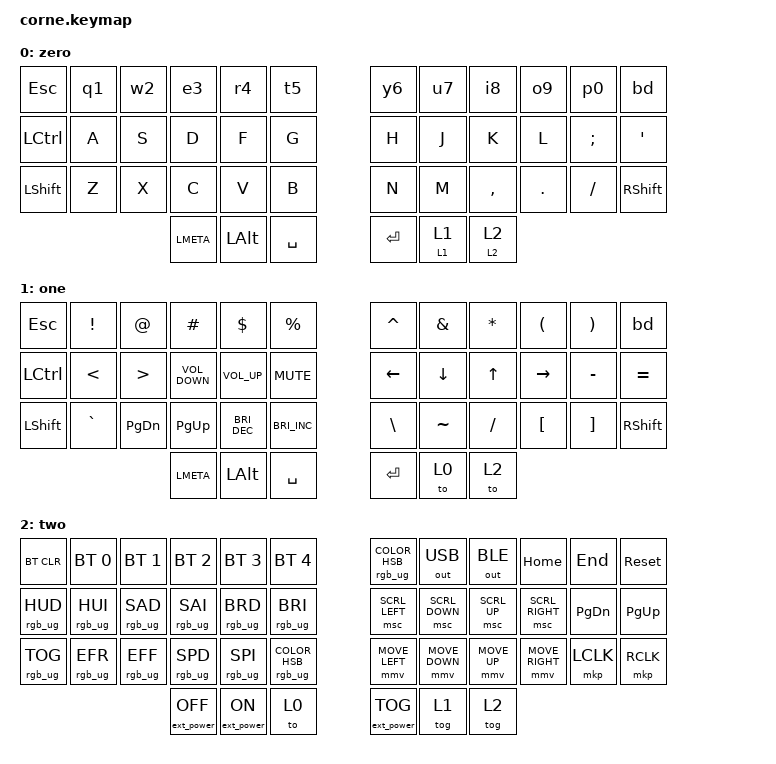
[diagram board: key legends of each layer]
/*
 * Copyright (c) 2021 The ZMK Contributors
 *
 * SPDX-License-Identifier: MIT
 */

#define ZMK_POINTING_DEFAULT_MOVE_VAL 1500
#define ZMK_POINTING_DEFAULT_SCRL_VAL 20

#include <behaviors.dtsi>
#include <dt-bindings/zmk/bt.h>
#include <dt-bindings/zmk/ext_power.h>
#include <dt-bindings/zmk/keys.h>
#include <dt-bindings/zmk/outputs.h>
#include <dt-bindings/zmk/pointing.h>
#include <dt-bindings/zmk/rgb.h>

&led_strip {
    chain-length = <27>;
};

&mt {
    flavor = "tap-preferred";
    quick-tap-ms = <300>;
    tapping-term-ms = <400>;
    require-prior-idle-ms = <125>;
};

/ {
    combos {
        compatible = "zmk,combos";

        tab {
            bindings = <&kp TAB>;
            key-positions = <12 13>;
        };

        terminal {
            bindings = <&kp LG(GRAVE)>;
            key-positions = <0 1>;
        };
    };

    behaviors {
        ht_layer: ht_layer {
            compatible = "zmk,behavior-hold-tap";
            label = "HT_LAYER";
            bindings = <&mo>, <&to>;

            #binding-cells = <2>;
            tapping-term-ms = <200>;
        };

        q1: q1 {
            compatible = "zmk,behavior-mod-morph";
            label = "Q1";
            bindings = <&kp Q>, <&kp NUMBER_1>;

            #binding-cells = <0>;
            mods = <(MOD_LALT)>;
        };

        w2: w2 {
            compatible = "zmk,behavior-mod-morph";
            label = "W2";
            bindings = <&kp W>, <&kp NUMBER_2>;

            #binding-cells = <0>;
            mods = <(MOD_LALT)>;
        };

        e3: e3 {
            compatible = "zmk,behavior-mod-morph";
            label = "E3";
            bindings = <&kp E>, <&kp NUMBER_3>;

            #binding-cells = <0>;
            mods = <(MOD_LALT)>;
        };

        r4: r4 {
            compatible = "zmk,behavior-mod-morph";
            label = "R4";
            bindings = <&kp R>, <&kp NUMBER_4>;

            #binding-cells = <0>;
            mods = <(MOD_LALT)>;
        };

        t5: t5 {
            compatible = "zmk,behavior-mod-morph";
            label = "T5";
            bindings = <&kp T>, <&kp N5>;

            #binding-cells = <0>;
            mods = <(MOD_LALT)>;
        };

        y6: y6 {
            compatible = "zmk,behavior-mod-morph";
            label = "Y6";
            bindings = <&kp Y>, <&kp NUMBER_6>;

            #binding-cells = <0>;
            mods = <(MOD_LALT)>;
        };

        u7: u7 {
            compatible = "zmk,behavior-mod-morph";
            label = "U7";
            bindings = <&kp U>, <&kp N7>;

            #binding-cells = <0>;
            mods = <(MOD_LALT)>;
        };

        i8: i8 {
            compatible = "zmk,behavior-mod-morph";
            label = "I8";
            bindings = <&kp I>, <&kp N8>;

            #binding-cells = <0>;
            mods = <(MOD_LALT)>;
        };

        o9: o9 {
            compatible = "zmk,behavior-mod-morph";
            label = "O9";
            bindings = <&kp O>, <&kp N9>;

            #binding-cells = <0>;
            mods = <(MOD_LALT)>;
        };

        p0: p0 {
            compatible = "zmk,behavior-mod-morph";
            label = "P0";
            bindings = <&kp P>, <&kp N0>;

            #binding-cells = <0>;
            mods = <(MOD_LALT)>;
        };

        bd: bd {
            compatible = "zmk,behavior-mod-morph";
            label = "BD";
            bindings = <&kp BACKSPACE>, <&kp DELETE>;

            #binding-cells = <0>;
            mods = <(MOD_LSFT|MOD_RSFT)>;
        };
    };

    keymap {
        compatible = "zmk,keymap";

        default_layer {
            display-name = "zero";
            // -----------------------------------------------------------------------------------------
            // |  TAB |  Q  |  W  |  E  |  R  |  T  |   |  Y  |  U   |  I  |  O  |  P  | BKSP |
            // | CTRL |  A  |  S  |  D  |  F  |  G  |   |  H  |  J   |  K  |  L  |  ;  |  '   |
            // | SHFT |  Z  |  X  |  C  |  V  |  B  |   |  N  |  M   |  ,  |  .  |  /  | ESC  |
            //                    | GUI | LWR | SPC |   | ENT | RSE  | ALT |

            bindings = <
&kp ESCAPE  &q1    &w2    &e3        &r4       &t5          &y6        &u7            &i8            &o9      &p0       &bd
&kp LCTRL   &kp A  &kp S  &kp D      &kp F     &kp G        &kp H      &kp J          &kp K          &kp L    &kp SEMI  &kp SQT
&kp LSHFT   &kp Z  &kp X  &kp C      &kp V     &kp B        &kp N      &kp M          &kp COMMA      &kp DOT  &kp FSLH  &kp RSHFT
                          &kp LMETA  &kp LALT  &kp SPACE    &kp ENTER  &ht_layer 1 1  &ht_layer 2 2
            >;
        };

        lower_layer {
            display-name = "one";
            // -----------------------------------------------------------------------------------------
            // |  TAB |  1  |  2  |  3  |  4  |  5  |   |  6  |  7  |  8  |  9  |  0  | BKSP |
            // | BTCLR| BT1 | BT2 | BT3 | BT4 | BT5 |   | LFT | DWN |  UP | RGT |     |      |
            // | SHFT |     |     |     |     |     |   |     |     |     |     |     |      |
            //                    | GUI |     | SPC |   | ENT |     | ALT |

            bindings = <
&kp ESCAPE  &kp EXCLAMATION  &kp AT_SIGN       &kp HASH           &kp DOLLAR            &kp PERCENT             &kp CARET       &kp AMPERSAND   &kp ASTERISK  &kp LEFT_PARENTHESIS  &kp RIGHT_PARENTHESIS  &bd
&kp LCTRL   &kp LESS_THAN    &kp GREATER_THAN  &kp C_VOLUME_DOWN  &kp C_VOLUME_UP       &kp K_MUTE              &kp LEFT_ARROW  &kp DOWN_ARROW  &kp UP_ARROW  &kp RIGHT_ARROW       &kp MINUS              &kp EQUAL
&kp LSHFT   &kp GRAVE        &kp PAGE_DOWN     &kp PAGE_UP        &kp C_BRIGHTNESS_DEC  &kp C_BRIGHTNESS_INC    &kp BACKSLASH   &kp TILDE       &kp SLASH     &kp LEFT_BRACKET      &kp RIGHT_BRACKET      &kp RSHIFT
                                               &kp LMETA          &kp LALT              &kp SPACE               &kp ENTER       &to 0           &to 2
            >;
        };

        raise_layer {
            display-name = "two";
            // -----------------------------------------------------------------------------------------
            // |  TAB |  !  |  @  |  #  |  $  |  %  |   |  ^  |  &  |  *  |  (  |  )  | BKSP |
            // | CTRL |     |     |     |     |     |   |  -  |  =  |  [  |  ]  |  \  |  `   |
            // | SHFT |     |     |     |     |     |   |  _  |  +  |  {  |  }  | "|" |  ~   |
            //                    | GUI |     | SPC |   | ENT |     | ALT |

            bindings = <
&bt BT_CLR       &bt BT_SEL 0     &bt BT_SEL 1     &bt BT_SEL 2       &bt BT_SEL 3      &bt BT_SEL 4                         &rgb_ug RGB_COLOR_HSB(100,0,100)  &out OUT_USB    &out OUT_BLE  &kp HOME         &kp END        &sys_reset
&rgb_ug RGB_HUD  &rgb_ug RGB_HUI  &rgb_ug RGB_SAD  &rgb_ug RGB_SAI    &rgb_ug RGB_BRD   &rgb_ug RGB_BRI                      &msc SCRL_LEFT                    &msc SCRL_DOWN  &msc SCRL_UP     &msc SCRL_RIGHT  &kp PAGE_DOWN  &kp PAGE_UP
&rgb_ug RGB_TOG  &rgb_ug RGB_EFR  &rgb_ug RGB_EFF  &rgb_ug RGB_SPD    &rgb_ug RGB_SPI   &rgb_ug RGB_COLOR_HSB(175,100,50)    &mmv MOVE_LEFT                    &mmv MOVE_DOWN  &mmv MOVE_UP     &mmv MOVE_RIGHT  &mkp LCLK      &mkp RCLK
                                                   &ext_power EP_OFF  &ext_power EP_ON  &to 0                                &ext_power EP_TOG                 &tog 1          &tog 2
            >;
        };
    };
};
